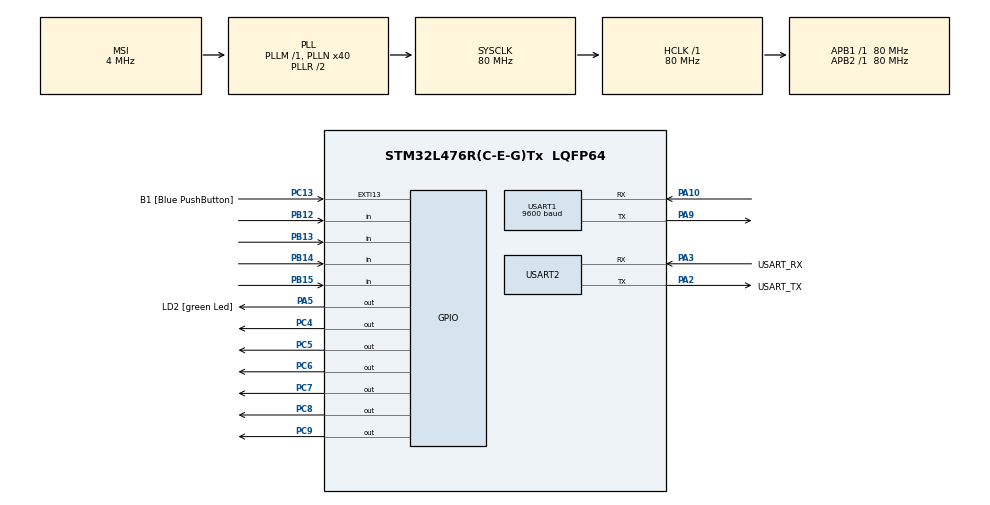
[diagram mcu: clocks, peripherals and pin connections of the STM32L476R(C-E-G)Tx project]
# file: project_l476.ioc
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Dma.Request0=USART1_RX
Dma.Request1=USART1_TX
Dma.Request2=USART2_RX
Dma.Request3=USART2_TX
Dma.USART1_RX.0.Direction=DMA_PERIPH_TO_MEMORY
Dma.USART1_RX.0.Instance=DMA1_Channel5
Dma.USART1_RX.0.MemDataAlignment=DMA_MDATAALIGN_BYTE
Dma.USART1_RX.0.MemInc=DMA_MINC_ENABLE
Dma.USART1_RX.0.Mode=DMA_NORMAL
Dma.USART1_RX.0.PeriphDataAlignment=DMA_PDATAALIGN_BYTE
Dma.USART1_RX.0.PeriphInc=DMA_PINC_DISABLE
Dma.USART1_RX.0.Priority=DMA_PRIORITY_HIGH
Dma.USART1_TX.1.Direction=DMA_MEMORY_TO_PERIPH
Dma.USART1_TX.1.Instance=DMA1_Channel4
Dma.USART1_TX.1.MemDataAlignment=DMA_MDATAALIGN_BYTE
Dma.USART1_TX.1.MemInc=DMA_MINC_ENABLE
Dma.USART1_TX.1.Mode=DMA_NORMAL
Dma.USART1_TX.1.PeriphDataAlignment=DMA_PDATAALIGN_BYTE
Dma.USART1_TX.1.PeriphInc=DMA_PINC_DISABLE
Dma.USART1_TX.1.Priority=DMA_PRIORITY_LOW
Dma.USART2_RX.2.Direction=DMA_PERIPH_TO_MEMORY
Dma.USART2_RX.2.Instance=DMA1_Channel6
Dma.USART2_RX.2.MemDataAlignment=DMA_MDATAALIGN_BYTE
Dma.USART2_RX.2.MemInc=DMA_MINC_ENABLE
Dma.USART2_RX.2.Mode=DMA_NORMAL
Dma.USART2_RX.2.PeriphDataAlignment=DMA_PDATAALIGN_BYTE
Dma.USART2_RX.2.PeriphInc=DMA_PINC_DISABLE
Dma.USART2_RX.2.Priority=DMA_PRIORITY_LOW
Dma.USART2_TX.3.Direction=DMA_MEMORY_TO_PERIPH
Dma.USART2_TX.3.Instance=DMA1_Channel7
Dma.USART2_TX.3.MemDataAlignment=DMA_MDATAALIGN_BYTE
Dma.USART2_TX.3.MemInc=DMA_MINC_ENABLE
Dma.USART2_TX.3.Mode=DMA_NORMAL
Dma.USART2_TX.3.PeriphDataAlignment=DMA_PDATAALIGN_BYTE
Dma.USART2_TX.3.PeriphInc=DMA_PINC_DISABLE
Dma.USART2_TX.3.Priority=DMA_PRIORITY_LOW
Mcu.Family=STM32L4
Mcu.Name=STM32L476R(C-E-G)Tx
Mcu.Package=LQFP64
NVIC.DMA1_Channel4_IRQn=true\:0\:0\:false\:false\:true\:false\:true
NVIC.DMA1_Channel5_IRQn=true\:0\:0\:false\:false\:true\:false\:true
NVIC.DMA1_Channel6_IRQn=true\:0\:0\:false\:false\:true\:false\:true
NVIC.DMA1_Channel7_IRQn=true\:0\:0\:false\:false\:true\:false\:true
NVIC.PriorityGroup=NVIC_PRIORITYGROUP_4
NVIC.TIM2_IRQn=true\:0\:0\:true\:true\:true\:3\:true\:true
NVIC.USART1_IRQn=true\:1\:0\:true\:true\:true\:2\:true\:true
NVIC.USART2_IRQn=true\:2\:0\:true\:true\:true\:1\:true\:true
PA10.Mode=Asynchronous
PA10.Signal=USART1_RX
PA13\ (JTMS-SWDIO).GPIO_Label=TMS
PA13\ (JTMS-SWDIO).Mode=Serial_Wire
PA13\ (JTMS-SWDIO).Signal=SYS_JTMS-SWDIO
PA14\ (JTCK-SWCLK).GPIO_Label=TCK
PA14\ (JTCK-SWCLK).Mode=Serial_Wire
PA14\ (JTCK-SWCLK).Signal=SYS_JTCK-SWCLK
PA2.GPIO_Label=USART_TX
PA2.GPIO_Mode=GPIO_MODE_AF_PP
PA2.GPIO_PuPd=GPIO_NOPULL
PA2.GPIO_Speed=GPIO_SPEED_FREQ_VERY_HIGH
PA2.Mode=Asynchronous
PA2.Signal=USART2_TX
PA3.GPIO_Label=USART_RX
PA3.GPIO_Mode=GPIO_MODE_AF_PP
PA3.GPIO_PuPd=GPIO_NOPULL
PA3.GPIO_Speed=GPIO_SPEED_FREQ_VERY_HIGH
PA3.Mode=Asynchronous
PA3.Signal=USART2_RX
PA5.GPIO_Label=LD2 [green Led]
PA5.GPIO_ModeDefaultOutputPP=GPIO_MODE_OUTPUT_PP
PA5.GPIO_PuPd=GPIO_NOPULL
PA5.GPIO_Speed=GPIO_SPEED_FREQ_LOW
PA5.Signal=GPIO_Output
PA9.Mode=Asynchronous
PA9.Signal=USART1_TX
PB12.GPIO_PuPd=GPIO_PULLDOWN
PB12.Signal=GPIO_Input
PB13.GPIO_PuPd=GPIO_PULLDOWN
PB13.Signal=GPIO_Input
PB14.GPIO_PuPd=GPIO_PULLDOWN
PB14.Signal=GPIO_Input
PB15.GPIO_PuPd=GPIO_PULLDOWN
PB15.Signal=GPIO_Input
PB3\ (JTDO-TRACESWO).GPIO_Label=SWO
PB3\ (JTDO-TRACESWO).Signal=SYS_JTDO-SWO
PC13.GPIO_Label=B1 [Blue PushButton]
PC13.GPIO_ModeDefaultEXTI=GPIO_MODE_IT_FALLING
PC13.GPIO_PuPd=GPIO_NOPULL
PC13.Signal=GPXTI13
PC14-OSC32_IN\ (PC14).Mode=LSE-External-Oscillator
PC14-OSC32_IN\ (PC14).Signal=RCC_OSC32_IN
PC15-OSC32_OUT\ (PC15).Mode=LSE-External-Oscillator
PC15-OSC32_OUT\ (PC15).Signal=RCC_OSC32_OUT
PC4.GPIO_ModeDefaultOutputPP=GPIO_MODE_OUTPUT_PP
PC4.GPIO_PuPd=GPIO_NOPULL
PC4.GPIO_Speed=GPIO_SPEED_FREQ_HIGH
PC4.PinState=GPIO_PIN_SET
PC4.Signal=GPIO_Output
PC5.GPIO_PuPd=GPIO_NOPULL
PC5.GPIO_Speed=GPIO_SPEED_FREQ_HIGH
PC5.PinState=GPIO_PIN_SET
PC5.Signal=GPIO_Output
PC6.GPIO_PuPd=GPIO_NOPULL
PC6.GPIO_Speed=GPIO_SPEED_FREQ_HIGH
PC6.PinState=GPIO_PIN_SET
PC6.Signal=GPIO_Output
PC7.GPIO_PuPd=GPIO_NOPULL
PC7.GPIO_Speed=GPIO_SPEED_FREQ_HIGH
PC7.PinState=GPIO_PIN_SET
PC7.Signal=GPIO_Output
PC8.GPIO_PuPd=GPIO_NOPULL
PC8.GPIO_Speed=GPIO_SPEED_FREQ_HIGH
PC8.PinState=GPIO_PIN_SET
PC8.Signal=GPIO_Output
PC9.GPIO_PuPd=GPIO_NOPULL
PC9.GPIO_Speed=GPIO_SPEED_FREQ_HIGH
PC9.PinState=GPIO_PIN_SET
PC9.Signal=GPIO_Output
PH0-OSC_IN\ (PH0).Signal=RCC_OSC_IN
PH1-OSC_OUT\ (PH1).Signal=RCC_OSC_OUT
ProjectManager.HeapSize=0x200
ProjectManager.StackSize=0x400
ProjectManager.TargetToolchain=MDK-ARM V5
RCC.ADCFreq_Value=16000000
RCC.AHBFreq_Value=80000000
RCC.APB1Freq_Value=80000000
RCC.APB1TimFreq_Value=80000000
RCC.APB2Freq_Value=80000000
RCC.APB2TimFreq_Value=80000000
RCC.CortexFreq_Value=80000000
RCC.HCLKFreq_Value=80000000
RCC.HSE_VALUE=8000000
RCC.HSI_VALUE=16000000
RCC.MSI_VALUE=4000000
RCC.PLLN=40
RCC.PREFETCH_ENABLE=1
RCC.SYSCLKFreq_VALUE=80000000
RCC.SYSCLKSource=RCC_SYSCLKSOURCE_PLLCLK
RCC.USBFreq_Value=16000000
RCC.VCOOutputFreq_Value=160000000
TIM2.Period=10000-1
TIM2.Prescaler=40000-1
USART1.BaudRate=9600
USART1.VirtualMode-Asynchronous=VM_ASYNC
USART2.VirtualMode-Asynchronous=VM_ASYNC
VP_TIM2_VS_ClockSourceINT.Mode=Internal
board=NUCLEO-L476RG

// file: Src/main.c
/* USER CODE BEGIN Header */
/**
  ******************************************************************************
  * @file           : main.c
  * @brief          : Main program body
  ******************************************************************************
  * @attention
  *
  * <h2><center>&copy; Copyright (c) 2019 STMicroelectronics.
  * All rights reserved.</center></h2>
  *
  * This software component is licensed by ST under BSD 3-Clause license,
  * the "License"; You may not use this file except in compliance with the
  * License. You may obtain a copy of the License at:
  *                        opensource.org/licenses/BSD-3-Clause
  *
  ******************************************************************************
  */
/* USER CODE END Header */

#include "main.h"

/* USER CODE BEGIN Includes */
#include "NB_IoT.h"
#include "usart.h"
/* USER CODE END Includes */

TIM_HandleTypeDef htim2;

UART_HandleTypeDef huart1;
UART_HandleTypeDef huart2;
DMA_HandleTypeDef hdma_usart1_rx;
DMA_HandleTypeDef hdma_usart1_tx;
DMA_HandleTypeDef hdma_usart2_rx;
DMA_HandleTypeDef hdma_usart2_tx;

/* USER CODE BEGIN PV */
uint8_t aRxBuffer1[1];		// 用来接收串口1发送的数据
uint8_t aRxBuffer2[1];		// 用来接收串口2发送的数据
uint8_t NB_command[26]={0};
uint8_t i=0;
uint8_t Server_flag='2';

void Delay_Init(void);
void DelayXms(unsigned short ms);
int Key16Scan(void);
/* USER CODE END PV */

void SystemClock_Config(void);
static void MX_GPIO_Init(void);
static void MX_DMA_Init(void);
static void MX_USART1_UART_Init(void);
static void MX_TIM2_Init(void);
static void MX_USART2_UART_Init(void);
static void MX_NVIC_Init(void);

/* USER CODE BEGIN 0 */
uint8_t Rx_Flag=0;

uint16_t Rx_Len=0;

uint8_t Rx_Buf[Rx_Max]={0};
/* USER CODE END 0 */

int main(void)
{
  /* USER CODE BEGIN 1 */
	int num[4]={0,0,0,0};
	char i=0;
  /* USER CODE END 1 */

  /* MCU Configuration--------------------------------------------------------*/

  /* Reset of all peripherals, Initializes the Flash interface and the Systick. */
  HAL_Init();

  /* Configure the system clock */
  SystemClock_Config();

  /* Initialize all configured peripherals */
  MX_GPIO_Init();
  MX_DMA_Init();
  MX_USART1_UART_Init();
  MX_TIM2_Init();
  MX_USART2_UART_Init();

  /* Initialize interrupts */
  MX_NVIC_Init();
  /* USER CODE BEGIN 2 */
//	HAL_Delay(4000);
//	Restart_m5310();
//	HAL_Delay(4000);
//	Server_connect();
//	HAL_Delay(2000);
		/*Enable DMA IRQ*/

//	HAL_UART_Receive_DMA(&huart1, Rx_Buf, Rx_Max);
	HAL_UART_Receive_DMA(&huart1, Rx_Buf, Rx_Max);

	__HAL_UART_ENABLE_IT(&huart1, UART_IT_IDLE);
  /* USER CODE END 2 */

  /* Infinite loop */
  /* USER CODE BEGIN WHILE */
	HAL_GPIO_WritePin(GPIOC, GPIO_PIN_9, GPIO_PIN_SET);
	HAL_Delay(200);
	HAL_GPIO_WritePin(GPIOC, GPIO_PIN_9, GPIO_PIN_RESET);
  while (1)
  {

//		if(Rx_Flag)    // Receive flag
//		{
//			Rx_Flag=0; // clean flag

//			HAL_UART_Transmit_DMA(&huart2, Rx_Buf, Rx_Len);
////				HAL_UART_Transmit(&huart1, Rx_Buf, Rx_Len,100);

//		}
//			HAL_Delay(1000);
//			GetRcvData(&huart1 ,data, sizeof(data));
//			if(strlen(data))
//				{
//					HAL_UART_Transmit(&huart1,data,sizeof(data),100);
//					HAL_Delay(1000);
//				}

    /* USER CODE END WHILE */

    /* USER CODE BEGIN 3 */
		while((num[i]=Key16Scan())!= 0)
		{
			uint8_t number;
			number=num[i];
			HAL_UART_Transmit(&huart2,&number,1,50);
			HAL_GPIO_WritePin(GPIOC, GPIO_PIN_9, GPIO_PIN_SET);
			HAL_Delay(100);
			HAL_GPIO_WritePin(GPIOC, GPIO_PIN_9, GPIO_PIN_RESET);
			if(num[i]=='A')
			{
				if(i==0)
					num[i]=0;
				else
					i--;
			}
			else
				i++;

			if(i>3)
			{
				break;
			}

		}

		if(i>3)
		{
			i=0;
//			Server_Send(num);
////			while(Server_flag=='2')
////			{
//			Server_Receive();
//			}
		}

//		HAL_Delay(10);

		if(Server_flag=='1')
		{
			HAL_GPIO_WritePin(GPIOC,GPIO_PIN_9,GPIO_PIN_SET);
			HAL_Delay(50);
			HAL_GPIO_WritePin(GPIOC,GPIO_PIN_9,GPIO_PIN_RESET);
//			HAL_TIM_Base_Start_IT(&htim2);
//			One_Beep(500);
			Server_flag='0';

//			TIM_Cmd(TIM2, ENABLE);
			HAL_Delay(1000);

			Server_flag='2';

		}
		else if(Server_flag=='0')
		{
			int j;
			for(j=0;j<5;j++)
			{
//				One_Beep(50);
				HAL_Delay(50);
			}
				HAL_Delay(1000);
			Server_flag='2';
		}

  }
  /* USER CODE END 3 */
}

void SystemClock_Config(void)
{
  RCC_OscInitTypeDef RCC_OscInitStruct = {0};
  RCC_ClkInitTypeDef RCC_ClkInitStruct = {0};
  RCC_PeriphCLKInitTypeDef PeriphClkInit = {0};

  /** Configure LSE Drive Capability
  */
  HAL_PWR_EnableBkUpAccess();
  __HAL_RCC_LSEDRIVE_CONFIG(RCC_LSEDRIVE_LOW);
  /** Initializes the CPU, AHB and APB busses clocks
  */
  RCC_OscInitStruct.OscillatorType = RCC_OSCILLATORTYPE_LSE|RCC_OSCILLATORTYPE_MSI;
  RCC_OscInitStruct.LSEState = RCC_LSE_ON;
  RCC_OscInitStruct.MSIState = RCC_MSI_ON;
  RCC_OscInitStruct.MSICalibrationValue = 0;
  RCC_OscInitStruct.MSIClockRange = RCC_MSIRANGE_6;
  RCC_OscInitStruct.PLL.PLLState = RCC_PLL_ON;
  RCC_OscInitStruct.PLL.PLLSource = RCC_PLLSOURCE_MSI;
  RCC_OscInitStruct.PLL.PLLM = 1;
  RCC_OscInitStruct.PLL.PLLN = 40;
  RCC_OscInitStruct.PLL.PLLP = RCC_PLLP_DIV7;
  RCC_OscInitStruct.PLL.PLLQ = RCC_PLLQ_DIV2;
  RCC_OscInitStruct.PLL.PLLR = RCC_PLLR_DIV2;
  if (HAL_RCC_OscConfig(&RCC_OscInitStruct) != HAL_OK)
  {
    Error_Handler();
  }
  /** Initializes the CPU, AHB and APB busses clocks
  */
  RCC_ClkInitStruct.ClockType = RCC_CLOCKTYPE_HCLK|RCC_CLOCKTYPE_SYSCLK
                              |RCC_CLOCKTYPE_PCLK1|RCC_CLOCKTYPE_PCLK2;
  RCC_ClkInitStruct.SYSCLKSource = RCC_SYSCLKSOURCE_PLLCLK;
  RCC_ClkInitStruct.AHBCLKDivider = RCC_SYSCLK_DIV1;
  RCC_ClkInitStruct.APB1CLKDivider = RCC_HCLK_DIV1;
  RCC_ClkInitStruct.APB2CLKDivider = RCC_HCLK_DIV1;

  if (HAL_RCC_ClockConfig(&RCC_ClkInitStruct, FLASH_LATENCY_4) != HAL_OK)
  {
    Error_Handler();
  }
  PeriphClkInit.PeriphClockSelection = RCC_PERIPHCLK_USART1|RCC_PERIPHCLK_USART2;
  PeriphClkInit.Usart1ClockSelection = RCC_USART1CLKSOURCE_PCLK2;
  PeriphClkInit.Usart2ClockSelection = RCC_USART2CLKSOURCE_PCLK1;
  if (HAL_RCCEx_PeriphCLKConfig(&PeriphClkInit) != HAL_OK)
  {
    Error_Handler();
  }
  /** Configure the main internal regulator output voltage
  */
  if (HAL_PWREx_ControlVoltageScaling(PWR_REGULATOR_VOLTAGE_SCALE1) != HAL_OK)
  {
    Error_Handler();
  }
  /** Enable MSI Auto calibration
  */
  HAL_RCCEx_EnableMSIPLLMode();
}

/**
  * @brief NVIC Configuration.
  * @retval None
  */
static void MX_NVIC_Init(void)
{
  /* USART2_IRQn interrupt configuration */
  HAL_NVIC_SetPriority(USART2_IRQn, 2, 0);
  HAL_NVIC_EnableIRQ(USART2_IRQn);
  /* USART1_IRQn interrupt configuration */
  HAL_NVIC_SetPriority(USART1_IRQn, 1, 0);
  HAL_NVIC_EnableIRQ(USART1_IRQn);
  /* TIM2_IRQn interrupt configuration */
  HAL_NVIC_SetPriority(TIM2_IRQn, 0, 0);
  HAL_NVIC_EnableIRQ(TIM2_IRQn);
}

static void MX_TIM2_Init(void)
{

  TIM_ClockConfigTypeDef sClockSourceConfig = {0};
  TIM_MasterConfigTypeDef sMasterConfig = {0};

  htim2.Instance = TIM2;
  htim2.Init.Prescaler = 80-1;
  htim2.Init.CounterMode = TIM_COUNTERMODE_UP;
  htim2.Init.Period = 50000-1;
  htim2.Init.ClockDivision = TIM_CLOCKDIVISION_DIV1;
  htim2.Init.AutoReloadPreload = TIM_AUTORELOAD_PRELOAD_DISABLE;
  if (HAL_TIM_Base_Init(&htim2) != HAL_OK)
  {
    Error_Handler();
  }
  sClockSourceConfig.ClockSource = TIM_CLOCKSOURCE_INTERNAL;
  if (HAL_TIM_ConfigClockSource(&htim2, &sClockSourceConfig) != HAL_OK)
  {
    Error_Handler();
  }
  sMasterConfig.MasterOutputTrigger = TIM_TRGO_RESET;
  sMasterConfig.MasterSlaveMode = TIM_MASTERSLAVEMODE_DISABLE;
  if (HAL_TIMEx_MasterConfigSynchronization(&htim2, &sMasterConfig) != HAL_OK)
  {
    Error_Handler();
  }

}

static void MX_USART1_UART_Init(void)
{

  huart1.Instance = USART1;
  huart1.Init.BaudRate = 9600;
  huart1.Init.WordLength = UART_WORDLENGTH_8B;
  huart1.Init.StopBits = UART_STOPBITS_1;
  huart1.Init.Parity = UART_PARITY_NONE;
  huart1.Init.Mode = UART_MODE_TX_RX;
  huart1.Init.HwFlowCtl = UART_HWCONTROL_NONE;
  huart1.Init.OverSampling = UART_OVERSAMPLING_16;
  huart1.Init.OneBitSampling = UART_ONE_BIT_SAMPLE_DISABLE;
  huart1.AdvancedInit.AdvFeatureInit = UART_ADVFEATURE_NO_INIT;
  if (HAL_UART_Init(&huart1) != HAL_OK)
  {
    Error_Handler();
  }
  /* USER CODE BEGIN USART1_Init 2 */
//	HAL_UART_Receive_IT(&huart1,aRxBuffer1,1);			// Enable the USART1 Interrupt

  /* USER CODE END USART1_Init 2 */

}

static void MX_USART2_UART_Init(void)
{

  huart2.Instance = USART2;
  huart2.Init.BaudRate = 115200;
  huart2.Init.WordLength = UART_WORDLENGTH_8B;
  huart2.Init.StopBits = UART_STOPBITS_1;
  huart2.Init.Parity = UART_PARITY_NONE;
  huart2.Init.Mode = UART_MODE_TX_RX;
  huart2.Init.HwFlowCtl = UART_HWCONTROL_NONE;
  huart2.Init.OverSampling = UART_OVERSAMPLING_16;
  huart2.Init.OneBitSampling = UART_ONE_BIT_SAMPLE_DISABLE;
  huart2.AdvancedInit.AdvFeatureInit = UART_ADVFEATURE_NO_INIT;
  if (HAL_UART_Init(&huart2) != HAL_OK)
  {
    Error_Handler();
  }
  /* USER CODE BEGIN USART2_Init 2 */
	HAL_UART_Receive_IT(&huart2,aRxBuffer2,1);			// Enable the USART2 Interrupt

  /* USER CODE END USART2_Init 2 */

}

static void MX_DMA_Init(void)
{
  /* DMA controller clock enable */
  __HAL_RCC_DMA1_CLK_ENABLE();

  /* DMA interrupt init */
  /* DMA1_Channel4_IRQn interrupt configuration */
  HAL_NVIC_SetPriority(DMA1_Channel4_IRQn, 0, 0);
  HAL_NVIC_EnableIRQ(DMA1_Channel4_IRQn);
  /* DMA1_Channel5_IRQn interrupt configuration */
  HAL_NVIC_SetPriority(DMA1_Channel5_IRQn, 0, 0);
  HAL_NVIC_EnableIRQ(DMA1_Channel5_IRQn);
  /* DMA1_Channel6_IRQn interrupt configuration */
  HAL_NVIC_SetPriority(DMA1_Channel6_IRQn, 0, 0);
  HAL_NVIC_EnableIRQ(DMA1_Channel6_IRQn);
  /* DMA1_Channel7_IRQn interrupt configuration */
  HAL_NVIC_SetPriority(DMA1_Channel7_IRQn, 0, 0);
  HAL_NVIC_EnableIRQ(DMA1_Channel7_IRQn);

}

static void MX_GPIO_Init(void)
{
  GPIO_InitTypeDef GPIO_InitStruct = {0};

  /* GPIO Ports Clock Enable */
  __HAL_RCC_GPIOC_CLK_ENABLE();
  __HAL_RCC_GPIOH_CLK_ENABLE();
  __HAL_RCC_GPIOA_CLK_ENABLE();
  __HAL_RCC_GPIOB_CLK_ENABLE();

  /*Configure GPIO pin Output Level */
  HAL_GPIO_WritePin(LD2_GPIO_Port, LD2_Pin, GPIO_PIN_RESET);

  /*Configure GPIO pin Output Level */
  HAL_GPIO_WritePin(GPIOC, GPIO_PIN_4|GPIO_PIN_5|GPIO_PIN_6|GPIO_PIN_7
                          |GPIO_PIN_8|GPIO_PIN_9, GPIO_PIN_RESET);

  /*Configure GPIO pin : B1_Pin */
  GPIO_InitStruct.Pin = B1_Pin;
  GPIO_InitStruct.Mode = GPIO_MODE_IT_FALLING;
  GPIO_InitStruct.Pull = GPIO_NOPULL;
  HAL_GPIO_Init(B1_GPIO_Port, &GPIO_InitStruct);

  /*Configure GPIO pin : LD2_Pin */
  GPIO_InitStruct.Pin = LD2_Pin;
  GPIO_InitStruct.Mode = GPIO_MODE_OUTPUT_PP;
  GPIO_InitStruct.Pull = GPIO_NOPULL;
  GPIO_InitStruct.Speed = GPIO_SPEED_FREQ_LOW;
  HAL_GPIO_Init(LD2_GPIO_Port, &GPIO_InitStruct);

  /*Configure GPIO pins : PC4 PC5 PC6 PC7
                           PC8 PC9 */
  GPIO_InitStruct.Pin = GPIO_PIN_4|GPIO_PIN_5|GPIO_PIN_6|GPIO_PIN_7
                          |GPIO_PIN_8|GPIO_PIN_9;
  GPIO_InitStruct.Mode = GPIO_MODE_OUTPUT_PP;
  GPIO_InitStruct.Pull = GPIO_NOPULL;
  GPIO_InitStruct.Speed = GPIO_SPEED_FREQ_HIGH;
  HAL_GPIO_Init(GPIOC, &GPIO_InitStruct);

  /*Configure GPIO pins : PB12 PB13 PB14 PB15 */
  GPIO_InitStruct.Pin = GPIO_PIN_12|GPIO_PIN_13|GPIO_PIN_14|GPIO_PIN_15;
  GPIO_InitStruct.Mode = GPIO_MODE_INPUT;
  GPIO_InitStruct.Pull = GPIO_PULLDOWN;
  HAL_GPIO_Init(GPIOB, &GPIO_InitStruct);

}

/* USER CODE BEGIN 4 */
//void HAL_UART_RxCpltCallback(UART_HandleTypeDef *huart)
//{
//
//	if(huart->Instance == USART1)	// 判断是由哪个串口触发的中断
//	{
//		NB_command[i++]=aRxBuffer1[0];
//		if(NB_command[0]=='F')
//			{
//				if(i>25)
//				{
//					Server_flag=NB_command[25];
//					HAL_UART_Transmit(&huart1,&Server_flag,1,100);
//					i=0;
//				}
//			}
//			else i--;
//		HAL_UART_Transmit(&huart2,aRxBuffer1,1,100);	// 接收到数据马上使用串口1发送出去
//		HAL_UART_Receive_IT(&huart1,aRxBuffer1,1);		// 重新使能串口1接收中断
//	}
//	if(huart->Instance == USART2)
//	{
//		HAL_UART_Transmit(&huart2,aRxBuffer2,1,100);	// 接收到数据马上使用串口1发送出去
//		HAL_UART_Receive_IT(&huart2,aRxBuffer2,1);		// 重新使能串口2接收中断
//	}

//}

//void HAL_UART_RxCpltCallback(UART_HandleTypeDef *huart)
//{
//
////	if(huart->Instance == USART1)	// 判断是由哪个串口触发的中断
////	{
////		NB_command[i++]=aRxBuffer1[0];
////		if(NB_command[0]=='F')
////			{
////				if(i>25)
////				{
////					Server_flag=NB_command[25];
////					HAL_UART_Transmit(&huart1,&Server_flag,1,100);
////					i=0;
////				}
////			}
////			else i--;
////		HAL_UART_Transmit(&huart2,aRxBuffer1,1,100);	// 接收到数据马上使用串口1发送出去
////		HAL_UART_Receive_IT(&huart1,aRxBuffer1,1);		// 重新使能串口1接收中断
////	}
//
//if(Rx_Flag)    // Receive flag
//{
//	Rx_Flag=0; // clean flag

//	HAL_UART_Transmit_DMA(&huart2, Rx_Buf, Rx_Len);
////				HAL_UART_Transmit(&huart1, Rx_Buf, Rx_Len,100);

//	}
//}

/**

	 * @brief  Period elapsed callback in non blocking mode

	 * @param  htim: TIM handle

	 * @retval None

	 */

void HAL_TIM_PeriodElapsedCallback(TIM_HandleTypeDef *htim)
{
	static char i=0;

	  if (htim->Instance == TIM2)
	   i++;
			if(i>=100)
			{
			HAL_TIM_Base_Stop_IT(&htim2);
			HAL_GPIO_WritePin(GPIOC,GPIO_PIN_9,GPIO_PIN_SET);
			HAL_Delay(50);
			HAL_GPIO_WritePin(GPIOC,GPIO_PIN_9,GPIO_PIN_RESET);

//			HAL_TIM_IRQHandler(&htim2);
//			HAL_UART_Transmit(&huart1, "#", 1,100);
	   }
}

/*
************************************************************
*	函数名称：	Key16Scan
*
*	函数功能：	读取按键的键值
*
*	入口参数：	无
*
*	返回参数：	KeyVal: 键值
*
*	说明：
************************************************************
*/
int Key16Scan(void)
{
   char KeyVal=0;

  HAL_GPIO_WritePin(GPIOC, GPIO_PIN_4|GPIO_PIN_5|GPIO_PIN_6|GPIO_PIN_7, GPIO_PIN_SET);

// GPIO_Write(GPIOC, (GPIOC->ODR & 0xfc3f | 0x03c0));	 //不管其余12位0xf0ff，先让PB8到PB11全部输出高。
// GPIO_Write(GPIOB, (GPIOB->ODR & 0xffff | 0x0000));

	 if((GPIO_ReadInputData(GPIOB)&0xf000)==0x000) 								 //如果PB12到PB15全为零则没有按键按下
		  return 0;
	 else
	 {
	    HAL_Delay(5);    //延时5ms去抖动
	    if((GPIO_ReadInputData(GPIOB)&0xf000)==0x000)
	    return 0;
	 }
	  HAL_GPIO_WritePin(GPIOC, GPIO_PIN_4|GPIO_PIN_5|GPIO_PIN_6|GPIO_PIN_7, GPIO_PIN_RESET);
		HAL_GPIO_WritePin(GPIOC, GPIO_PIN_4, GPIO_PIN_SET);
		HAL_Delay(1);
	 switch(GPIO_ReadInputData(GPIOB)&0xf000)	//第一行，由低到高，同理，不赘述
	 {
			case 0x1000: KeyVal='1'; 	break;
			case 0x2000: KeyVal='2';	break;
			case 0x4000: KeyVal='3';	break;
			case 0x8000: KeyVal='A';	break;
   }

	 while((GPIO_ReadInputData(GPIOB)&0xf000)	> 0);     //等待按键释放

	  HAL_GPIO_WritePin(GPIOC, GPIO_PIN_4|GPIO_PIN_5|GPIO_PIN_6|GPIO_PIN_7, GPIO_PIN_RESET);
		HAL_GPIO_WritePin(GPIOC, GPIO_PIN_5, GPIO_PIN_SET);
		HAL_Delay(1);
		switch(GPIO_ReadInputData(GPIOB)&0xf000)
		{
			case 0x1000: KeyVal='4';	break;
			case 0x2000: KeyVal='5';	break;
			case 0x4000: KeyVal='6';	break;
			case 0x8000: KeyVal='B';	break;
		}

    while((GPIO_ReadInputData(GPIOB)&0xf000)	> 0);

	  HAL_GPIO_WritePin(GPIOC, GPIO_PIN_4|GPIO_PIN_5|GPIO_PIN_6|GPIO_PIN_7, GPIO_PIN_RESET);
		HAL_GPIO_WritePin(GPIOC, GPIO_PIN_6, GPIO_PIN_SET);
		HAL_Delay(1);
		switch(GPIO_ReadInputData(GPIOB)&0xf000)
		{
			case 0x1000: KeyVal='7';	break;
			case 0x2000: KeyVal='8';	break;
			case 0x4000: KeyVal='9';	break;
			case 0x8000: KeyVal='C';	break;
		}

    while((GPIO_ReadInputData(GPIOB)&0xf000)	> 0);

	  HAL_GPIO_WritePin(GPIOC, GPIO_PIN_4|GPIO_PIN_5|GPIO_PIN_6|GPIO_PIN_7, GPIO_PIN_RESET);
		HAL_GPIO_WritePin(GPIOC, GPIO_PIN_7, GPIO_PIN_SET);
		HAL_Delay(1);
		switch(GPIO_ReadInputData(GPIOB)&0xf000)
		{
			case 0x1000: KeyVal='*';	break;
			case 0x2000: KeyVal='0';	break;
			case 0x4000: KeyVal='#';	break;
			case 0x8000: KeyVal='D';	break;
		}

		while((GPIO_ReadInputData(GPIOB)&0xf000)	> 0);

		return KeyVal;
}

/************************************
对应于：				0  1  2  3
		            4  5  6  7
		            8  9  10 11
		            12 13 14 15

按键表盘为：      1     2    3    A
									4     5    6    B
									7     8    9    C
									*   	0    #  	D

************************************/
/* USER CODE END 4 */

void Error_Handler(void)
{
}

/************************ (C) COPYRIGHT STMicroelectronics *****END OF FILE****/
